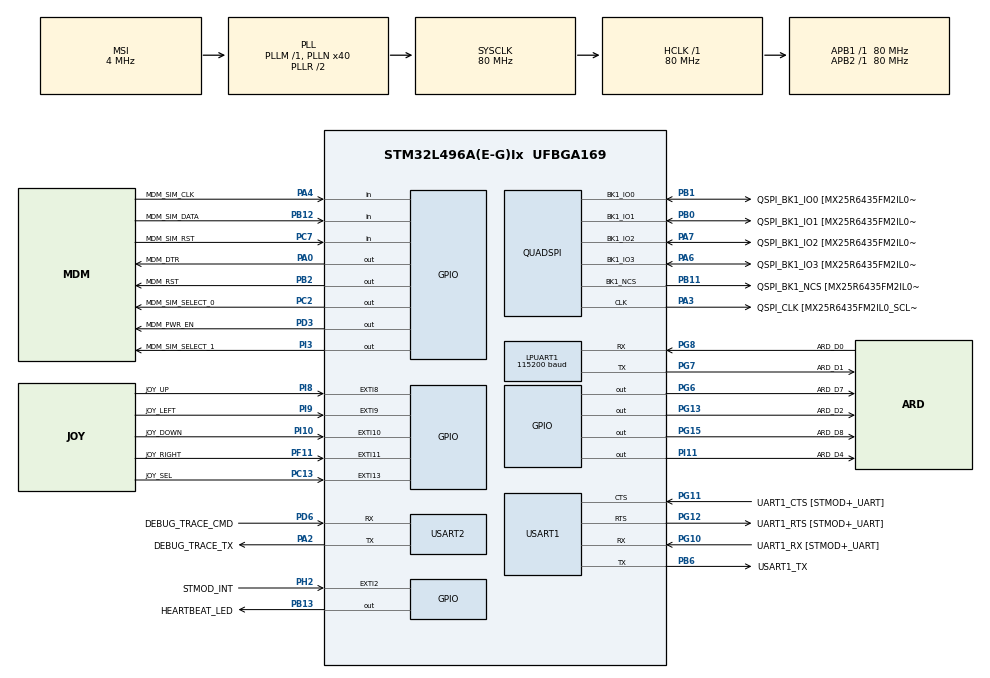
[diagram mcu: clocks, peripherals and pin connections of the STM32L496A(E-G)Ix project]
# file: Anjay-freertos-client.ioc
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FREERTOS.INCLUDE_uxTaskGetStackHighWaterMark=1
FREERTOS.INCLUDE_vTaskDelayUntil=1
FREERTOS.Tasks01=defaultTask,0,512,StartDefaultTask,Default,NULL,Dynamic,NULL,NULL
FREERTOS.configTOTAL_HEAP_SIZE=32768
FREERTOS.configUSE_COUNTING_SEMAPHORES=1
FREERTOS.configUSE_TIMERS=1
LPUART1.BaudRate=115200
LPUART1.WordLength=UART_WORDLENGTH_8B
Mcu.Family=STM32L4
Mcu.Name=STM32L496A(E-G)Ix
Mcu.Package=UFBGA169
NVIC.EXTI15_10_IRQn=true\:5\:0\:false\:false\:true\:true\:true\:true
NVIC.EXTI9_5_IRQn=true\:5\:0\:false\:false\:true\:true\:true\:true
NVIC.LPUART1_IRQn=true\:5\:0\:false\:false\:true\:true\:true\:true
NVIC.PriorityGroup=NVIC_PRIORITYGROUP_4
NVIC.TIM3_IRQn=true\:0\:0\:false\:false\:true\:false\:false\:true
NVIC.TimeBase=TIM3_IRQn
NVIC.TimeBaseIP=TIM3
NVIC.USART1_IRQn=true\:5\:0\:false\:false\:true\:true\:true\:true
NVIC.USART2_IRQn=true\:5\:0\:false\:false\:true\:true\:true\:true
PA0.GPIO_Label=MDM_DTR
PA0.PinState=GPIO_PIN_RESET
PA0.Signal=GPIO_Output
PA1.GPIO_Label=ARD_A4
PA1.Signal=ADCx_IN6
PA10.GPIO_Label=USB_OTGFS_ID
PA10.Signal=USB_OTG_FS_ID
PA11.GPIO_Label=USB_OTGFS_DM
PA11.Signal=USB_OTG_FS_DM
PA12.GPIO_Label=USB_OTGFS_DP
PA12.Signal=USB_OTG_FS_DP
PA13\ (JTMS/SWDIO).GPIO_Label=SWDIO
PA13\ (JTMS/SWDIO).Signal=SYS_JTMS-SWDIO
PA14\ (JTCK/SWCLK).GPIO_Label=SWCLK
PA14\ (JTCK/SWCLK).Signal=SYS_JTCK-SWCLK
PA15\ (JTDI).GPIO_Label=ARD_D10
PA15\ (JTDI).Signal=SPI1_NSS
PA2.GPIO_Label=DEBUG_TRACE_TX
PA2.Mode=Asynchronous
PA2.Signal=USART2_TX
PA3.GPIO_Label=QSPI_CLK [MX25R6435FM2IL0_SCLK]
PA3.Mode=Single Bank 1
PA3.Signal=QUADSPI_CLK
PA4.GPIO_Label=MDM_SIM_CLK
PA4.Signal=GPIO_Input
PA5.GPIO_Label=ARD_D13
PA5.Signal=SPI1_SCK
PA6.GPIO_Label=QSPI_BK1_IO3 [MX25R6435FM2IL0_SIO3]
PA6.Mode=Single Bank 1
PA6.Signal=QUADSPI_BK1_IO3
PA7.GPIO_Label=QSPI_BK1_IO2 [MX25R6435FM2IL0_SIO2]
PA7.Mode=Single Bank 1
PA7.Signal=QUADSPI_BK1_IO2
PA8.GPIO_Label=DCMI_CLK
PA8.Signal=LPTIM2_OUT
PA9.GPIO_Label=USB_OTGFS_VBUS
PA9.Signal=USB_OTG_FS_VBUS
PB0.GPIO_Label=QSPI_BK1_IO1 [MX25R6435FM2IL0_SIO1]
PB0.Mode=Single Bank 1
PB0.Signal=QUADSPI_BK1_IO1
PB1.GPIO_Label=QSPI_BK1_IO0 [MX25R6435FM2IL0_SIO0]
PB1.Mode=Single Bank 1
PB1.Signal=QUADSPI_BK1_IO0
PB10.GPIO_Label=SAI1_CKA [SLCK_CS42L51]
PB10.Signal=SAI1_SCK_A
PB11.GPIO_Label=QSPI_BK1_NCS [MX25R6435FM2IL0_CS]
PB11.Mode=Single Bank 1
PB11.Signal=QUADSPI_BK1_NCS
PB12.GPIO_Label=MDM_SIM_DATA
PB12.Signal=GPIO_Input
PB13.GPIO_Label=HEARTBEAT_LED
PB13.GPIO_ModeDefaultOutputPP=GPIO_MODE_OUTPUT_OD
PB13.GPIO_PuPd=GPIO_NOPULL
PB13.Signal=GPIO_Output
PB14.GPIO_Label=I2C2_SDA [CS42L51_SDA]
PB14.Signal=I2C2_SDA
PB15.GPIO_Label=SPI2_MOSI
PB15.Signal=SPI2_MOSI
PB2.GPIO_Label=MDM_RST
PB2.PinState=GPIO_PIN_SET
PB2.Signal=GPIO_Output
PB3\ (JTDO/TRACESWO).GPIO_Label=SWO
PB3\ (JTDO/TRACESWO).Signal=SYS_JTDO-SWO
PB4\ (NJTRST).GPIO_Label=ARD_D12
PB4\ (NJTRST).Signal=SPI1_MISO
PB5.GPIO_Label=ARD_D11
PB5.Signal=SPI1_MOSI
PB6.GPIO_Label=USART1_TX
PB6.Mode=Asynchronous
PB6.Signal=USART1_TX
PB7.GPIO_Label=I2C1_SDA
PB7.Signal=I2C1_SDA
PB9.GPIO_Label=ARD_D5
PB9.Signal=S_TIM4_CH4
PC0.GPIO_Label=ARD_A5
PC0.Signal=ADCx_IN1
PC1.Signal=ADCx_IN2
PC10.GPIO_Label=uSD_D2
PC10.Signal=SDMMC1_D2
PC11.GPIO_Label=uSD_D3
PC11.Signal=SDMMC1_D3
PC12.GPIO_Label=uSD_CLK
PC12.Signal=SDMMC1_CK
PC13.GPIO_Label=JOY_SEL
PC13.GPIO_PuPd=GPIO_PULLDOWN
PC13.Signal=GPXTI13
PC14-OSC32_IN\ (PC14).Signal=RCC_OSC32_IN
PC15-OSC32_OUT\ (PC15).Signal=RCC_OSC32_OUT
PC2.GPIO_Label=MDM_SIM_SELECT_0
PC2.GPIO_PuPd=GPIO_PULLDOWN
PC2.Signal=GPIO_Output
PC3.GPIO_Label=ARD_A2
PC3.Signal=ADCx_IN4
PC4.GPIO_Label=ARD_A0
PC4.Signal=ADCx_IN13
PC7.GPIO_Label=MDM_SIM_RST
PC7.Signal=GPIO_Input
PC8.GPIO_Label=uSD_D0
PC8.Signal=SDMMC1_D0
PC9.GPIO_Label=uSD_D1
PC9.Signal=SDMMC1_D1
PD0.GPIO_Label=D2 [D2_ IS66WV51216EBLL]
PD0.Signal=FMC_D2_DA2
PD1.GPIO_Label=D3 [D3_IS66WV51216EBLL]
PD1.Signal=FMC_D3_DA3
PD10.GPIO_Label=D15 [D15_IS66WV51216EBLL]
PD10.Signal=FMC_D15_DA15
PD11.GPIO_Label=PSRAM_A16 [A16_IS66WV51216EBLL]
PD11.Signal=FMC_A16_CLE
PD12.GPIO_Label=PSRAM_A17 [A17_IS66WV51216EBLL]
PD12.Signal=FMC_A17_ALE
PD13.GPIO_Label=PSRAM_A18_LCD_RS [A18_IS66WV51216EBLL]
PD13.Signal=FMC_A18
PD14.GPIO_Label=D0 [D0_IS66WV51216EBLL]
PD14.Signal=FMC_D0_DA0
PD15.GPIO_Label=D1 [D1_IS66WV51216EBLL]
PD15.Signal=FMC_D1_DA1
PD2.GPIO_Label=uSD_CMD
PD2.Signal=SDMMC1_CMD
PD3.GPIO_Label=MDM_PWR_EN
PD3.PinState=GPIO_PIN_SET
PD3.Signal=GPIO_Output
PD4.GPIO_Label=OE [OE_IS66WV51216EBLL]
PD4.Signal=FMC_NOE
PD5.GPIO_Label=WE [WE_IS66WV51216EBLL]
PD5.Signal=FMC_NWE
PD6.GPIO_Label=DEBUG_TRACE_CMD
PD6.Mode=Asynchronous
PD6.Signal=USART2_RX
PD7.GPIO_Label=LCD_NE
PD7.Signal=FMC_NE1
PD8.GPIO_Label=D13 [D13_IS66WV51216EBLL]
PD8.Signal=FMC_D13_DA13
PD9.GPIO_Label=D14 [D14_IS66WV51216EBLL]
PD9.Signal=FMC_D14_DA14
PE0.GPIO_Label=PSRAM_NBL0 [LB_IS66WV51216EBLL]
PE0.Signal=FMC_NBL0
PE1.GPIO_Label=PSRAM_NBL1 [UB_IS66WV51216EBLL]
PE1.Signal=FMC_NBL1
PE10.GPIO_Label=D7 [D7_IS66WV51216EBLL]
PE10.Signal=FMC_D7_DA7
PE11.GPIO_Label=D8  [D8_IS66WV51216EBLL]
PE11.Signal=FMC_D8_DA8
PE12.GPIO_Label=D9 [D9_IS66WV51216EBLL]
PE12.Signal=FMC_D9_DA9
PE13.GPIO_Label=D10 [D10_IS66WV51216EBLL]
PE13.Signal=FMC_D10_DA10
PE14.GPIO_Label=D11 [D11_IS66WV51216EBLL]
PE14.Signal=FMC_D11_DA11
PE15.GPIO_Label=D12 [D12_IS66WV51216EBLL]
PE15.Signal=FMC_D12_DA12
PE2.GPIO_Label=SAI1_MCKA [MCLK_CS42L51]
PE2.Signal=SAI1_MCLK_A
PE3.GPIO_Label=SAI1_SDB [SDOUT_CS42L51]
PE3.Signal=SAI1_SD_B
PE4.GPIO_Label=SAI1_FSA [LRCK_CS42L51]]
PE4.Signal=SAI1_FS_A
PE5.GPIO_Label=DCMI_D6
PE5.Signal=DCMI_D6
PE6.GPIO_Label=SAI1_SDA [SDIN_CS42L51]
PE6.Signal=SAI1_SD_A
PE7.GPIO_Label=D4 [D4_IS66WV51216EBLL]
PE7.Signal=FMC_D4_DA4
PE8.GPIO_Label=D5 [D5_IS66WV51216EBLL]
PE8.Signal=FMC_D5_DA5
PE9.GPIO_Label=D6 [D6_IS66WV51216EBLL]
PE9.Signal=FMC_D6_DA6
PF0.GPIO_Label=PSRAM_A0 [A0_IS66WV51216EBLL]
PF0.Signal=FMC_A0
PF1.GPIO_Label=PSRAM_A1 [A1_IS66WV51216EBLL]
PF1.Signal=FMC_A1
PF10.GPIO_Label=ARD_A3
PF10.Signal=ADC3_IN13
PF11.GPIO_Label=JOY_RIGHT
PF11.GPIO_ModeDefaultEXTI=GPIO_MODE_IT_RISING
PF11.GPIO_PuPd=GPIO_PULLDOWN
PF11.Signal=GPXTI11
PF12.GPIO_Label=PSRAM_A6 [A6_IS66WV51216EBLL]
PF12.Signal=FMC_A6
PF13.GPIO_Label=PSRAM_A7 [A7_IS66WV51216EBLL]
PF13.Signal=FMC_A7
PF14.GPIO_Label=PSRAM_A8 [A8_IS66WV51216EBLL]
PF14.Signal=FMC_A8
PF15.GPIO_Label=PSRAM_A9 [A9_IS66WV51216EBLL]
PF15.Signal=FMC_A9
PF2.GPIO_Label=PSRAM_A2 [A2_IS66WV51216EBLL]
PF2.Signal=FMC_A2
PF3.GPIO_Label=PSRAM_A3 [A3_IS66WV51216EBLL]
PF3.Signal=FMC_A3
PF4.GPIO_Label=PSRAM_A4 [A4_IS66WV51216EBLL]
PF4.Signal=FMC_A4
PF5.GPIO_Label=PSRAM_A5 [A5_IS66WV51216EBLL]
PF5.Signal=FMC_A5
PG0.GPIO_Label=PSRAM_A10 [A10_IS66WV51216EBLL]
PG0.Signal=FMC_A10
PG1.GPIO_Label=PSRAM_A11 [A11_IS66WV51216EBLL]
PG1.Signal=FMC_A11
PG10.GPIO_Label=UART1_RX [STMOD+_UART]
PG10.Mode=Asynchronous
PG10.Signal=USART1_RX
PG11.GPIO_Label=UART1_CTS [STMOD+_UART]
PG11.Mode=CTS_RTS
PG11.Signal=USART1_CTS
PG12.GPIO_Label=UART1_RTS [STMOD+_UART]
PG12.Mode=CTS_RTS
PG12.Signal=USART1_RTS
PG13.GPIO_Label=ARD_D2
PG13.Signal=GPIO_Output
PG15.GPIO_Label=ARD_D8
PG15.Signal=GPIO_Output
PG2.GPIO_Label=PSRAM_A12 [A12_IS66WV51216EBLL]
PG2.Signal=FMC_A12
PG3.GPIO_Label=PSRAM_A13 [A13_IS66WV51216EBLL]
PG3.Signal=FMC_A13
PG4.GPIO_Label=PSRAM_A14 [A14_IS66WV51216EBLL]
PG4.Signal=FMC_A14
PG5.GPIO_Label=PSRAM_A15 [A15_IS66WV51216EBLL]
PG5.Signal=FMC_A15
PG6.GPIO_Label=ARD_D7
PG6.Signal=GPIO_Output
PG7.GPIO_Label=ARD_D1
PG7.Mode=Asynchronous
PG7.Signal=LPUART1_TX
PG8.GPIO_Label=ARD_D0
PG8.Mode=Asynchronous
PG8.Signal=LPUART1_RX
PG9.GPIO_Label=PSRAM_NE [CS1_IS66WV51216EBLL]
PG9.Signal=FMC_NE2
PH10.GPIO_Label=DCMI_D1
PH10.Signal=DCMI_D1
PH11.GPIO_Label=DCMI_D2
PH11.Signal=DCMI_D2
PH12.GPIO_Label=DCMI_D3
PH12.Signal=DCMI_D3
PH13.GPIO_Label=ARD_D9
PH13.Signal=TIM8_CH1N
PH14.GPIO_Label=DCMI_D4
PH14.Signal=DCMI_D4
PH15.GPIO_Label=ARD_D3
PH15.Signal=TIM8_CH3N
PH2.GPIO_Label=STMOD_INT
PH2.Signal=GPXTI2
PH4.GPIO_Label=I2C2_SCL [SCL_CS42L51]
PH4.Signal=I2C2_SCL
PH5.GPIO_Label=DCMI_PIXCK
PH5.Signal=DCMI_PIXCLK
PH8.GPIO_Label=DCMI_HSYNC
PH8.Signal=DCMI_HSYNC
PH9.GPIO_Label=DCMI_D0
PH9.Signal=DCMI_D0
PI1.GPIO_Label=SPI2_CLK [STMOD+_SPI]
PI1.Signal=SPI2_SCK
PI10.GPIO_Label=JOY_DOWN
PI10.GPIO_PuPd=GPIO_PULLDOWN
PI10.Signal=GPXTI10
PI11.GPIO_Label=ARD_D4
PI11.Signal=GPIO_Output
PI2.GPIO_Label=SPI2_MISO [STMOD+_SPI]
PI2.Signal=SPI2_MISO
PI3.GPIO_Label=MDM_SIM_SELECT_1
PI3.GPIO_PuPd=GPIO_PULLDOWN
PI3.Signal=GPIO_Output
PI4.GPIO_Label=DCMI_D5
PI4.Signal=DCMI_D5
PI5.GPIO_Label=DCMI_VSYNC
PI5.Signal=DCMI_VSYNC
PI6.GPIO_Label=ARD_D6
PI6.Signal=S_TIM8_CH2
PI7.GPIO_Label=DCMI_D7
PI7.Signal=DCMI_D7
PI8.GPIO_Label=JOY_UP
PI8.GPIO_ModeDefaultEXTI=GPIO_MODE_IT_RISING
PI8.GPIO_PuPd=GPIO_PULLDOWN
PI8.Signal=GPXTI8
PI9.GPIO_Label=JOY_LEFT
PI9.GPIO_ModeDefaultEXTI=GPIO_MODE_IT_RISING
PI9.GPIO_PuPd=GPIO_PULLDOWN
PI9.Signal=GPXTI9
ProjectManager.HeapSize=0x200
ProjectManager.StackSize=0x400
ProjectManager.TargetToolchain=STM32CubeIDE
QUADSPI.ClockPrescaler=2
QUADSPI.FifoThreshold=4
QUADSPI.FlashSize=23
QUADSPI.SampleShifting=QSPI_SAMPLE_SHIFTING_HALFCYCLE
RCC.ADCFreq_Value=40000000
RCC.AHBFreq_Value=80000000
RCC.APB1Freq_Value=80000000
RCC.APB1TimFreq_Value=80000000
RCC.APB2Freq_Value=80000000
RCC.APB2TimFreq_Value=80000000
RCC.CortexFreq_Value=80000000
RCC.HCLKFreq_Value=80000000
RCC.HSE_VALUE=8000000
RCC.HSI48_VALUE=48000000
RCC.HSI_VALUE=16000000
RCC.LSE_VALUE=32768
RCC.MSI_VALUE=4000000
RCC.PLLN=40
RCC.PLLSAI1N=20
RCC.SYSCLKFreq_VALUE=80000000
RCC.SYSCLKSource=RCC_SYSCLKSOURCE_PLLCLK
RCC.USBFreq_Value=40000000
RCC.VCOOutputFreq_Value=160000000
SH.ADCx_IN1.0=ADC2_IN1
SH.ADCx_IN13.0=ADC1_IN13
SH.ADCx_IN2.0=ADC2_IN2
SH.ADCx_IN4.0=ADC1_IN4
SH.ADCx_IN6.0=ADC2_IN6
SH.FMC_A0.0=FMC_A0
SH.FMC_A1.0=FMC_A1
SH.FMC_A10.0=FMC_A10
SH.FMC_A11.0=FMC_A11
SH.FMC_A12.0=FMC_A12
SH.FMC_A13.0=FMC_A13
SH.FMC_A14.0=FMC_A14
SH.FMC_A15.0=FMC_A15
SH.FMC_A16_CLE.0=FMC_A16
SH.FMC_A17_ALE.0=FMC_A17
SH.FMC_A18.0=FMC_A18
SH.FMC_A2.0=FMC_A2
SH.FMC_A3.0=FMC_A3
SH.FMC_A4.0=FMC_A4
SH.FMC_A5.0=FMC_A5
SH.FMC_A6.0=FMC_A6
SH.FMC_A7.0=FMC_A7
SH.FMC_A8.0=FMC_A8
SH.FMC_A9.0=FMC_A9
SH.FMC_D0_DA0.0=FMC_D0
SH.FMC_D10_DA10.0=FMC_D10
SH.FMC_D11_DA11.0=FMC_D11
SH.FMC_D12_DA12.0=FMC_D12
SH.FMC_D13_DA13.0=FMC_D13
SH.FMC_D14_DA14.0=FMC_D14
SH.FMC_D15_DA15.0=FMC_D15
SH.FMC_D1_DA1.0=FMC_D1
SH.FMC_D2_DA2.0=FMC_D2
SH.FMC_D3_DA3.0=FMC_D3
SH.FMC_D4_DA4.0=FMC_D4
SH.FMC_D5_DA5.0=FMC_D5
SH.FMC_D6_DA6.0=FMC_D6
SH.FMC_D7_DA7.0=FMC_D7
SH.FMC_D8_DA8.0=FMC_D8
SH.FMC_D9_DA9.0=FMC_D9
SH.FMC_NBL0.0=FMC_NBL0
SH.FMC_NBL1.0=FMC_NBL1
SH.FMC_NOE.0=FMC_NOE
SH.FMC_NWE.0=FMC_NWE
SH.S_TIM4_CH4.0=TIM4_CH4
SH.S_TIM8_CH2.0=TIM8_CH2
USART1.VirtualMode-Asynchronous=VM_ASYNC
USART1.WordLength=WORDLENGTH_8B
USART2.VirtualMode-Asynchronous=VM_ASYNC
USART2.WordLength=WORDLENGTH_8B
VP_FREERTOS_VS_CMSIS_V1.Mode=CMSIS_V1
VP_RNG_VS_RNG.Mode=RNG_Activate
VP_RTC_VS_RTC_Activate.Mode=RTC_Enabled
VP_SYS_VS_tim3.Mode=TIM3
board=STM32L496G-DISCO

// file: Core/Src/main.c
/*
 * Copyright 2020 AVSystem <avsystem@avsystem.com>
 *
 * Licensed under the Apache License, Version 2.0 (the "License");
 * you may not use this file except in compliance with the License.
 * You may obtain a copy of the License at
 *
 *     http://www.apache.org/licenses/LICENSE-2.0
 *
 * Unless required by applicable law or agreed to in writing, software
 * distributed under the License is distributed on an "AS IS" BASIS,
 * WITHOUT WARRANTIES OR CONDITIONS OF ANY KIND, either express or implied.
 * See the License for the specific language governing permissions and
 * limitations under the License.
 */

/* USER CODE BEGIN Header */
/**
  ******************************************************************************
  * @file           : main.c
  * @brief          : Main program body
  ******************************************************************************
  * @attention
  *
  * <h2><center>&copy; Copyright (c) 2020 STMicroelectronics.
  * All rights reserved.</center></h2>
  *
  * This software component is licensed by ST under Ultimate Liberty license
  * SLA0044, the "License"; You may not use this file except in compliance with
  * the License. You may obtain a copy of the License at:
  *                             www.st.com/SLA0044
  *
  ******************************************************************************
  */
/* USER CODE END Header */

#include "main.h"
#include "cmsis_os.h"
#include "usart.h"
#include "quadspi.h"
#include "rng.h"
#include "rtc.h"
#include "gpio.h"

/* USER CODE BEGIN Includes */
#include <string.h>

#include <avsystem/commons/avs_log.h>

#include "trace_interface.h"
/* USER CODE END Includes */

/* USER CODE BEGIN PV */
UART_HandleTypeDef *const g_console_huart = &huart2;
/* USER CODE END PV */

void SystemClock_Config(void);
void MX_FREERTOS_Init(void);

/* USER CODE BEGIN 0 */

void log_handler(avs_log_level_t level,
                 const char *module,
                 const char *message) {
    traceIF_uartPrintForce(DBG_CHAN_CUSTOMCLIENT, (uint8_t *) message, strlen(message));
    traceIF_uartPrintForce(DBG_CHAN_CUSTOMCLIENT, (uint8_t *) "\r\n", 2);
}

/* USER CODE END 0 */

int main(void)
{

  /* MCU Configuration--------------------------------------------------------*/

  /* Reset of all peripherals, Initializes the Flash interface and the Systick. */
  HAL_Init();

  /* Configure the system clock */
  SystemClock_Config();

  /* Initialize all configured peripherals */
  MX_GPIO_Init();
  MX_USART2_UART_Init();
  MX_USART1_UART_Init();
  MX_RTC_Init();
  MX_LPUART1_UART_Init();
  MX_RNG_Init();
  MX_QUADSPI_Init();
  /* USER CODE BEGIN 2 */
  avs_log_set_handler(log_handler);
  /* USER CODE END 2 */

  /* Call init function for freertos objects (in freertos.c) */
  MX_FREERTOS_Init();
  /* Start scheduler */
  osKernelStart();

  /* We should never get here as control is now taken by the scheduler */
  /* Infinite loop */
  while (1)
  {

  }
}

void SystemClock_Config(void)
{
  RCC_OscInitTypeDef RCC_OscInitStruct = {0};
  RCC_ClkInitTypeDef RCC_ClkInitStruct = {0};
  RCC_PeriphCLKInitTypeDef PeriphClkInit = {0};

  /** Initializes the CPU, AHB and APB busses clocks
  */
  RCC_OscInitStruct.OscillatorType = RCC_OSCILLATORTYPE_LSI|RCC_OSCILLATORTYPE_MSI;
  RCC_OscInitStruct.LSIState = RCC_LSI_ON;
  RCC_OscInitStruct.MSIState = RCC_MSI_ON;
  RCC_OscInitStruct.MSICalibrationValue = 0;
  RCC_OscInitStruct.MSIClockRange = RCC_MSIRANGE_6;
  RCC_OscInitStruct.PLL.PLLState = RCC_PLL_ON;
  RCC_OscInitStruct.PLL.PLLSource = RCC_PLLSOURCE_MSI;
  RCC_OscInitStruct.PLL.PLLM = 1;
  RCC_OscInitStruct.PLL.PLLN = 40;
  RCC_OscInitStruct.PLL.PLLP = RCC_PLLP_DIV2;
  RCC_OscInitStruct.PLL.PLLQ = RCC_PLLQ_DIV2;
  RCC_OscInitStruct.PLL.PLLR = RCC_PLLR_DIV2;
  if (HAL_RCC_OscConfig(&RCC_OscInitStruct) != HAL_OK)
  {
    Error_Handler();
  }
  /** Initializes the CPU, AHB and APB busses clocks
  */
  RCC_ClkInitStruct.ClockType = RCC_CLOCKTYPE_HCLK|RCC_CLOCKTYPE_SYSCLK
                              |RCC_CLOCKTYPE_PCLK1|RCC_CLOCKTYPE_PCLK2;
  RCC_ClkInitStruct.SYSCLKSource = RCC_SYSCLKSOURCE_PLLCLK;
  RCC_ClkInitStruct.AHBCLKDivider = RCC_SYSCLK_DIV1;
  RCC_ClkInitStruct.APB1CLKDivider = RCC_HCLK_DIV1;
  RCC_ClkInitStruct.APB2CLKDivider = RCC_HCLK_DIV1;

  if (HAL_RCC_ClockConfig(&RCC_ClkInitStruct, FLASH_LATENCY_4) != HAL_OK)
  {
    Error_Handler();
  }
  PeriphClkInit.PeriphClockSelection = RCC_PERIPHCLK_RTC|RCC_PERIPHCLK_USART1
                              |RCC_PERIPHCLK_USART2|RCC_PERIPHCLK_LPUART1
                              |RCC_PERIPHCLK_RNG;
  PeriphClkInit.Usart1ClockSelection = RCC_USART1CLKSOURCE_PCLK2;
  PeriphClkInit.Usart2ClockSelection = RCC_USART2CLKSOURCE_PCLK1;
  PeriphClkInit.Lpuart1ClockSelection = RCC_LPUART1CLKSOURCE_PCLK1;
  PeriphClkInit.RTCClockSelection = RCC_RTCCLKSOURCE_LSI;
  PeriphClkInit.RngClockSelection = RCC_RNGCLKSOURCE_PLLSAI1;
  PeriphClkInit.PLLSAI1.PLLSAI1Source = RCC_PLLSOURCE_MSI;
  PeriphClkInit.PLLSAI1.PLLSAI1M = 1;
  PeriphClkInit.PLLSAI1.PLLSAI1N = 20;
  PeriphClkInit.PLLSAI1.PLLSAI1P = RCC_PLLP_DIV2;
  PeriphClkInit.PLLSAI1.PLLSAI1Q = RCC_PLLQ_DIV2;
  PeriphClkInit.PLLSAI1.PLLSAI1R = RCC_PLLR_DIV2;
  PeriphClkInit.PLLSAI1.PLLSAI1ClockOut = RCC_PLLSAI1_48M2CLK;
  if (HAL_RCCEx_PeriphCLKConfig(&PeriphClkInit) != HAL_OK)
  {
    Error_Handler();
  }
  /** Configure the main internal regulator output voltage
  */
  if (HAL_PWREx_ControlVoltageScaling(PWR_REGULATOR_VOLTAGE_SCALE1) != HAL_OK)
  {
    Error_Handler();
  }
}

 /**
  * @brief  Period elapsed callback in non blocking mode
  * @note   This function is called  when TIM3 interrupt took place, inside
  * HAL_TIM_IRQHandler(). It makes a direct call to HAL_IncTick() to increment
  * a global variable "uwTick" used as application time base.
  * @param  htim : TIM handle
  * @retval None
  */
void HAL_TIM_PeriodElapsedCallback(TIM_HandleTypeDef *htim)
{
  if (htim->Instance == TIM3) {
    HAL_IncTick();
  }
}

void Error_Handler(void)
{
  while (1)
  {
  }
}

/************************ (C) COPYRIGHT STMicroelectronics *****END OF FILE****/

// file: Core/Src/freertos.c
/*
 * Copyright 2020 AVSystem <avsystem@avsystem.com>
 *
 * Licensed under the Apache License, Version 2.0 (the "License");
 * you may not use this file except in compliance with the License.
 * You may obtain a copy of the License at
 *
 *     http://www.apache.org/licenses/LICENSE-2.0
 *
 * Unless required by applicable law or agreed to in writing, software
 * distributed under the License is distributed on an "AS IS" BASIS,
 * WITHOUT WARRANTIES OR CONDITIONS OF ANY KIND, either express or implied.
 * See the License for the specific language governing permissions and
 * limitations under the License.
 */

/* USER CODE BEGIN Header */
/**
  ******************************************************************************
  * File Name          : freertos.c
  * Description        : Code for freertos applications
  ******************************************************************************
  * @attention
  *
  * <h2><center>&copy; Copyright (c) 2020 STMicroelectronics.
  * All rights reserved.</center></h2>
  *
  * This software component is licensed by ST under Ultimate Liberty license
  * SLA0044, the "License"; You may not use this file except in compliance with
  * the License. You may obtain a copy of the License at:
  *                             www.st.com/SLA0044
  *
  ******************************************************************************
  */
/* USER CODE END Header */

#include "FreeRTOS.h"
#include "task.h"
#include "main.h"
#include "cmsis_os.h"

/* USER CODE BEGIN Includes */
#include "plf_config.h"
#include "cellular_mngt.h"

#if (!USE_DEFAULT_SETUP == 1)
#include "time_date.h"
#include "app_select.h"
#include "setup.h"
#if (USE_MODEM_VOUCHER == 1)
#include "voucher.h"
#endif /* (USE_MODEM_VOUCHER == 1) */
#endif /* (!USE_DEFAULT_SETUP == 1) */

#include "lwm2m.h"

#include "board_buttons.h"

/* USER CODE END Includes */

osThreadId defaultTaskHandle;

/* USER CODE BEGIN FunctionPrototypes */
static void utilities_init(void);
static void utilities_start(void);
/* USER CODE END FunctionPrototypes */

void StartDefaultTask(void const * argument);

void MX_FREERTOS_Init(void); /* (MISRA C 2004 rule 8.1) */

/* GetIdleTaskMemory prototype (linked to static allocation support) */
void vApplicationGetIdleTaskMemory( StaticTask_t **ppxIdleTaskTCBBuffer, StackType_t **ppxIdleTaskStackBuffer, uint32_t *pulIdleTaskStackSize );

/* GetTimerTaskMemory prototype (linked to static allocation support) */
void vApplicationGetTimerTaskMemory( StaticTask_t **ppxTimerTaskTCBBuffer, StackType_t **ppxTimerTaskStackBuffer, uint32_t *pulTimerTaskStackSize );

/* USER CODE BEGIN GET_IDLE_TASK_MEMORY */
static StaticTask_t xIdleTaskTCBBuffer;
static StackType_t xIdleStack[configMINIMAL_STACK_SIZE];

void vApplicationGetIdleTaskMemory( StaticTask_t **ppxIdleTaskTCBBuffer, StackType_t **ppxIdleTaskStackBuffer, uint32_t *pulIdleTaskStackSize )
{
  *ppxIdleTaskTCBBuffer = &xIdleTaskTCBBuffer;
  *ppxIdleTaskStackBuffer = &xIdleStack[0];
  *pulIdleTaskStackSize = configMINIMAL_STACK_SIZE;
  /* place for user code */
}
/* USER CODE END GET_IDLE_TASK_MEMORY */

/* USER CODE BEGIN GET_TIMER_TASK_MEMORY */
static StaticTask_t xTimerTaskTCBBuffer;
static StackType_t xTimerStack[configTIMER_TASK_STACK_DEPTH];

void vApplicationGetTimerTaskMemory( StaticTask_t **ppxTimerTaskTCBBuffer, StackType_t **ppxTimerTaskStackBuffer, uint32_t *pulTimerTaskStackSize )
{
  *ppxTimerTaskTCBBuffer = &xTimerTaskTCBBuffer;
  *ppxTimerTaskStackBuffer = &xTimerStack[0];
  *pulTimerTaskStackSize = configTIMER_TASK_STACK_DEPTH;
  /* place for user code */
}
/* USER CODE END GET_TIMER_TASK_MEMORY */

void MX_FREERTOS_Init(void) {

  /* Create the thread(s) */
  /* definition and creation of defaultTask */
  osThreadDef(defaultTask, StartDefaultTask, osPriorityNormal, 0, 512);
  defaultTaskHandle = osThreadCreate(osThread(defaultTask), NULL);

}

void StartDefaultTask(void const * argument)
{
  /* USER CODE BEGIN StartDefaultTask */
  UNUSED(argument);

  /* RandomNumberGenerator */
  srand(osKernelSysTick());

  cellular_init();
  lwm2m_init();
  utilities_init();

  cellular_start();
  lwm2m_start();
  lwm2m_notify_start();
  utilities_start();

  vTaskDelete(NULL);
  /* USER CODE END StartDefaultTask */
}

/* USER CODE BEGIN Application */

static void utilities_init(void)
{
  (void)board_buttons_init();
}

static void utilities_start(void)
{
  (void)board_buttons_start();
}

/* USER CODE END Application */

/************************ (C) COPYRIGHT STMicroelectronics *****END OF FILE****/
